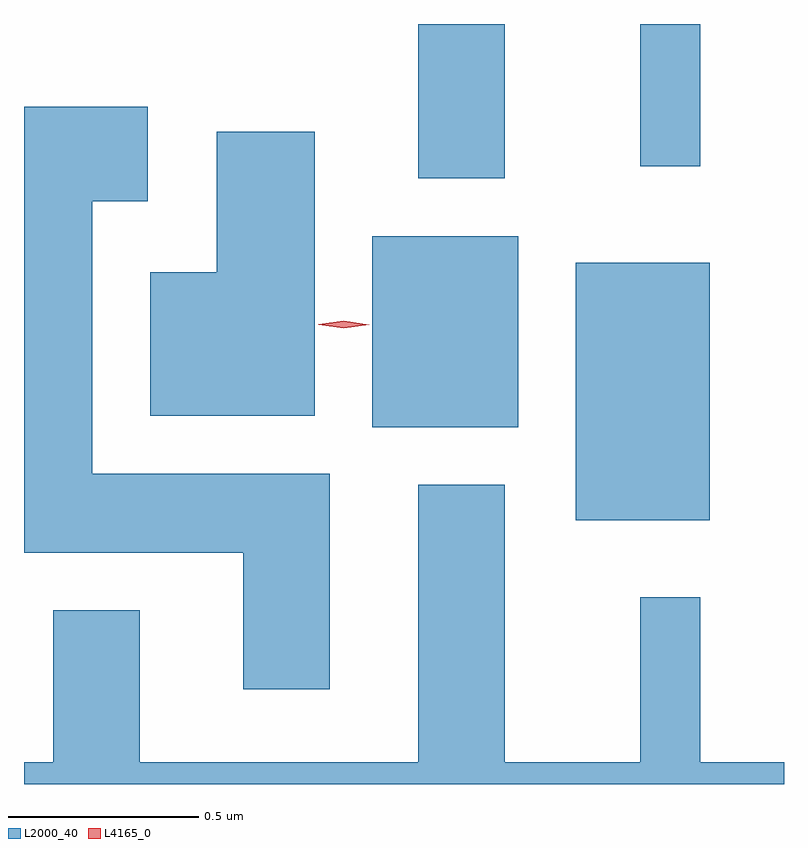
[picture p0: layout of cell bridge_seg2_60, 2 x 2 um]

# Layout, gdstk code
import gdstk
lib = gdstk.Library(unit=1e-6, precision=1e-09)
def R(c, l, rs):  # rectangles x0, y0, x1, y1
    for r in rs: c.add(gdstk.rectangle(r[:2], r[2:], *l))
def P(c, l, *ps):  # polygons
    for p in ps: c.add(gdstk.Polygon(p, *l))
L2000_40 = (2000, 40)
L4165_0 = (4165, 0)

bridge_seg2_60 = lib.new_cell('bridge_seg2_60')
R(bridge_seg2_60, L2000_40, [(1286.806,1066.981,1287.159,1067.659), (1286.271,1067.226,1286.654,1067.729), (1286.391,1067.881,1286.619,1068.287), (1286.976,1067.913,1287.134,1068.287)])
P(bridge_seg2_60, L2000_40, [(1286.159,1067.104),(1285.534,1067.104),(1285.534,1067.821),(1285.679,1067.821),(1285.679,1068.069),(1285.354,1068.069),(1285.354,1066.896),(1285.931,1066.896),(1285.931,1066.536),(1286.159,1066.536)],
  [(1286.119,1068.004),(1285.861,1068.004),(1285.861,1067.634),(1285.686,1067.634),(1285.686,1067.256),(1286.119,1067.256)],
  [(1287.354,1066.344),(1287.134,1066.344),(1287.134,1066.778),(1286.976,1066.778),(1286.976,1066.344),(1286.619,1066.344),(1286.619,1067.074),(1286.391,1067.074),(1286.391,1066.344),(1285.659,1066.344),(1285.659,1066.744),(1285.431,1066.744),(1285.431,1066.344),(1285.354,1066.344),(1285.354,1066.287),(1287.354,1066.287)])
P(bridge_seg2_60, L4165_0, [(1286.195,1067.486),(1286.129,1067.496),(1286.128,1067.497),(1286.129,1067.497),(1286.195,1067.506),(1286.262,1067.496),(1286.262,1067.496),(1286.262,1067.495)])

lib.write_gds('bridge_seg2_60.gds')
